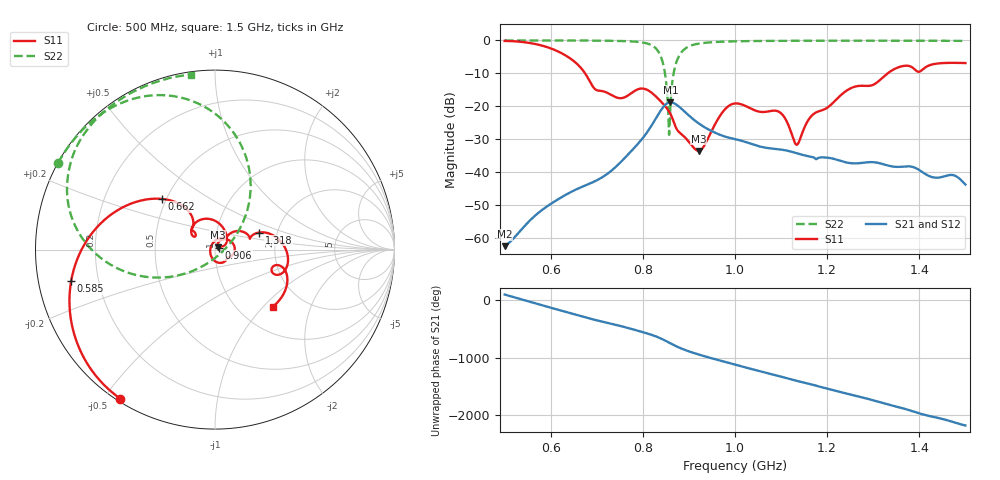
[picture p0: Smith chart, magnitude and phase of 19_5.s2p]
! TOUCHSTONE file generated by CST MICROWAVE STUDIO
! Date and time: Mon Oct 26 12:31:20 2020
! Project name: Scenario_1_Circular_Tissue_out_of_Line.cst
! Parameters = {dy1=-33.862; L_HA=400; MT=2.54; Rad_Dielectric=30; Rad_Lower=7.3; Rad_Upper=30; a_HA=580; a_WG=246; b_HA=500; b_WG=121; c_HA=0; c_WG=187; d_feed=85; dx1=866; h_feed=15; h_lower=18; h_upper=40}
! Header version: 2018
! Port assignment regex: !\s*Touchstone port\s*([0-9]+)\s*=\s*(CST MWS port|CST DS port)\s*([0-9]+|Zmin|Zmax)\s*\(\"(.*)\"\)(\s*mode\s*([0-9]+))?.*
! Touchstone port assignment:
! Touchstone port 1 = CST MWS port 1 ("")
! Touchstone port 2 = CST MWS port 2 ("")
# GHz S DB R 50
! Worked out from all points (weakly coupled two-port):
!   1001 points, 500 MHz to 1.5 GHz, reference 50 ohm
!   highest |S21| = -18.84 dB at 860 MHz (marker M1); lowest = -62.6 dB at 500 MHz (marker M2)
!   lowest |S11| = -33.6 dB at 921 MHz (marker M3), VSWR 1.04, Z = 51.6 + j1.43 ohm
!   |S11| at or under -10 dB: 674.6 MHz to 1.331 GHz (656.9 MHz wide, 65.5 % of centre)
!   |S22| runs from -28.7 to 0.0 dB; largest |S21 - S12| = 0.00011
!   S11 on the Smith chart (normalised r, x): 500 MHz: 0.01, -0.55; 585 MHz: 0.10, -0.11; 662 MHz: 0.48, +0.32; 906 MHz: 1.05, +0.02; 1.318 GHz: 1.61, +0.33; 1.5 GHz: 1.41, -1.13
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0.5  -0.14 -122.4  -62.60 99.5  -62.60 99.5  -0.01 151.1
0.585  -1.72 -167.7  -51.19 -96.4  -51.19 -96.4  -0.02 145.2
0.662  -7.80 136.1  -44.91 89.9  -44.92 89.9  -0.04 138.8
0.667  -8.58 132.4  -44.61 78.8  -44.61 78.8  -0.04 138.4
0.7  -15.13 135.1  -42.56 10.4  -42.56 10.4  -0.07 134.8
0.78  -15.56 142.7  -32.91 -149.8  -32.91 -149.8  -0.34 120.3
0.815  -15.49 95.6  -26.75 128.1  -26.75 128.1  -1.20 103.1
0.834  -17.83 69.0  -22.41 72.3  -22.41 72.3  -3.47 81.9
0.846  -19.62 53.0  -19.98 27.4  -19.98 27.4  -8.41 58.7
0.855  -21.22 39.9  -18.98 -10.4  -18.98 -10.4  -21.80 18.8
0.86  -22.40 32.1  -18.84 -31.7  -18.84 -31.7  -19.31 -125.0
0.866  -24.40 24.5  -19.01 -56.4  -19.01 -56.4  -10.64 -148.9
0.874  -27.09 24.7  -19.65 -87.2  -19.65 -87.2  -6.14 -164.5
0.906  -31.91 25.4  -23.58 173.6  -23.58 173.6  -1.49 164.4
0.921  -33.61 41.7  -25.23 135.7  -25.23 135.7  -0.98 157.3
1  -19.18 6.3  -30.02 -39.6  -30.02 -39.6  -0.27 140.2
1.097  -21.85 -66.2  -33.16 116.4  -33.16 116.4  -0.13 130.0
1.134  -31.75 168.0  -34.32 36.5  -34.32 36.5  -0.11 126.8
1.167  -22.83 62.8  -35.44 -28.2  -35.44 -28.2  -0.10 124.2
1.318  -11.61 21.2  -37.51 15.0  -37.51 15.0  -0.09 112.7
1.334  -9.74 15.0  -38.13 -19.1  -38.13 -19.1  -0.09 111.5
1.5  -6.88 -44.9  -43.85 -20.4  -43.81 -20.3  -0.13 97.9
